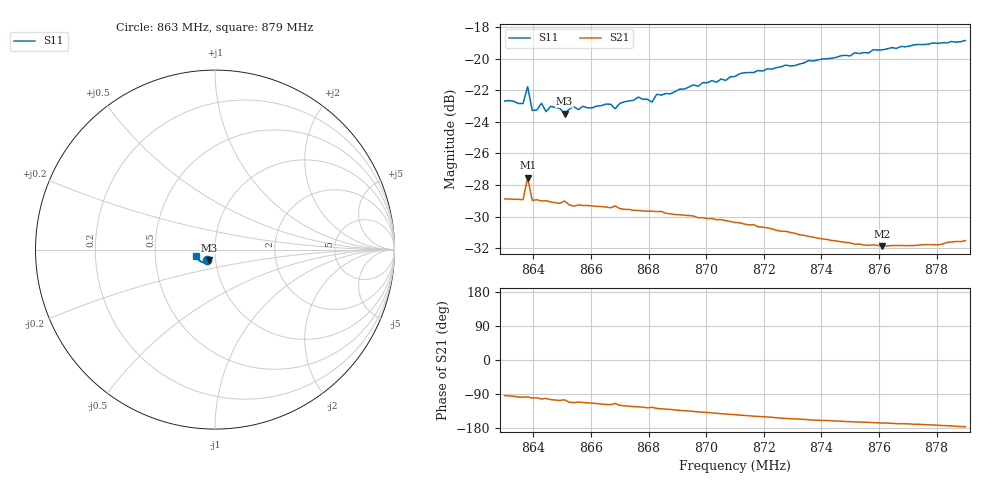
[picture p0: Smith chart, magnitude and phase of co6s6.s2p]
# HZ S RI R 50
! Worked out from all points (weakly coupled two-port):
!   101 points, 863 MHz to 879 MHz, reference 50 ohm
!   highest |S21| = -27.54 dB at 863.8 MHz (marker M1); lowest = -31.9 dB at 876.12 MHz (marker M2)
!   lowest |S11| = -23.5 dB at 865.08 MHz (marker M3), VSWR 1.14, Z = 46.5 - j5.46 ohm
!   |S11| at or under -10 dB: start of sweep to end of sweep
!   S12 and S22 are empty: the file has one direction only
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8.63e8  -0.0461 -0.0571  -0.00248 -0.0359  0 0  0 0
8.6364e8  -0.044 -0.0572  -0.0051 -0.0354  0 0  0 0
8.638e8  -0.0395 -0.0714  -0.0054 -0.0416  0 0  0 0
8.6396e8  -0.0386 -0.0566  -0.0063 -0.0351  0 0  0 0
8.6428e8  -0.0428 -0.0582  -0.00796 -0.0346  0 0  0 0
8.6444e8  -0.0375 -0.0568  -0.00699 -0.0348  0 0  0 0
8.646e8  -0.041 -0.0575  -0.00888 -0.0341  0 0  0 0
8.6508e8  -0.0326 -0.0584  -0.00924 -0.0342  0 0  0 0
8.654e8  -0.0424 -0.0564  -0.0131 -0.0315  0 0  0 0
8.6556e8  -0.0384 -0.0573  -0.0123 -0.0322  0 0  0 0
8.6572e8  -0.0384 -0.0594  -0.0129 -0.0318  0 0  0 0
8.6668e8  -0.0373 -0.0613  -0.0158 -0.0298  0 0  0 0
8.6684e8  -0.0313 -0.062  -0.0143 -0.0311  0 0  0 0
8.6764e8  -0.0395 -0.0645  -0.0183 -0.0276  0 0  0 0
8.6812e8  -0.0379 -0.0622  -0.0187 -0.0271  0 0  0 0
8.6828e8  -0.0403 -0.0658  -0.0201 -0.0259  0 0  0 0
8.6844e8  -0.0401 -0.0654  -0.0206 -0.0256  0 0  0 0
8.71e8  -0.0514 -0.0713  -0.0246 -0.0178  0 0  0 0
8.7372e8  -0.0692 -0.0699  -0.0254 -0.00994  0 0  0 0
8.7612e8  -0.0877 -0.0607  -0.0248 -0.00604  0 0  0 0
8.7644e8  -0.0912 -0.0587  -0.025 -0.0057  0 0  0 0
8.79e8  -0.1079 -0.0375  -0.0265 -0.00188  0 0  0 0
